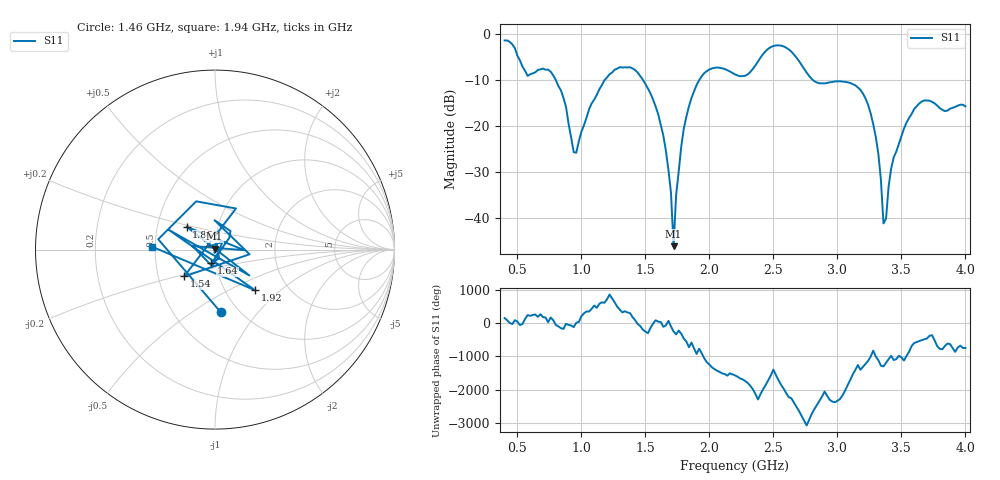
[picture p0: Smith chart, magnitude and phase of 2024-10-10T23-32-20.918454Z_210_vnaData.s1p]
! Created with skrf (http://scikit-rf.org).
# Hz S RI R 50.0
!freq ReS11 ImS11
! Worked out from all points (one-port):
!   181 points, 400 MHz to 4 GHz, reference 50 ohm
!   lowest |S11| = -46.2 dB at 1.72 GHz (marker M1), VSWR 1.01, Z = 49.8 + j0.446 ohm
!   |S11| at or under -10 dB: 801 MHz to 1.18 GHz (378.6 MHz wide, 38.2 % of centre); 1.483 GHz to 1.919 GHz (436.2 MHz wide, 25.6 % of centre); 2.812 GHz to end of sweep
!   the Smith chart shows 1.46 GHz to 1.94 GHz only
!   S11 on the Smith chart (normalised r, x): 1.46 GHz: 0.83, -0.66; 1.54 GHz: 0.68, -0.21; 1.64 GHz: 0.95, -0.15; 1.86 GHz: 0.71, +0.19; 1.92 GHz: 1.37, -0.69; 1.94 GHz: 0.48, +0.02
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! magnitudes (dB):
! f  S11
! 400 MHz  -1.3
! 760 MHz  -8.1
! 860 MHz  -13.8
! 960 MHz  -25.8
! 1.08 GHz  -15.0
! 1.3 GHz  -7.1
! 1.46 GHz  -9.1
! 1.54 GHz  -12.9
! 1.64 GHz  -22.0
! 1.7 GHz  -34.5
! 1.72 GHz  -46.2
! 1.74 GHz  -35.0
! 1.76 GHz  -29.9
! 1.86 GHz  -13.9
! 1.92 GHz  -10.0
! 1.94 GHz  -9.1
! 2.2 GHz  -8.7
! 2.5 GHz  -2.5
! 2.66 GHz  -4.4
! 2.84 GHz  -10.5
! 3.1 GHz  -10.6
! 3.28 GHz  -19.6
! 3.32 GHz  -26.0
! 3.36 GHz  -41.2
! 3.44 GHz  -26.8
! 3.56 GHz  -18.2
! 3.68 GHz  -14.4
! 4 GHz  -15.7
